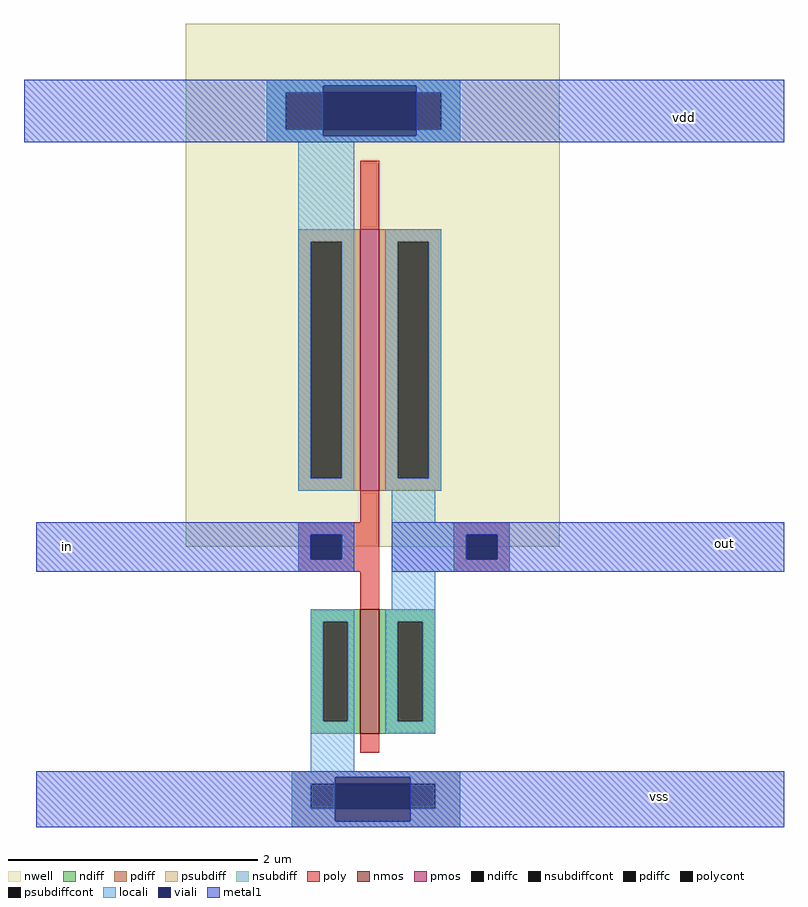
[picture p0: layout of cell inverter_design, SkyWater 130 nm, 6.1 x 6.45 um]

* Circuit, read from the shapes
.subckt inverter_design in out vdd vss
XM1 out in vss vss sky130_fd_pr__nfet_01v8 w=1 l=0.15
XM2 out in vdd vdd sky130_fd_pr__pfet_01v8 w=2.1 l=0.15
.ends

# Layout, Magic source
magic
tech sky130A
<< nwell >>
rect -150 -50 150 370
<< nmos >>
rect -10 -200 5 -100
<< pmos >>
rect -10 -5 5 205
<< ndiff >>
rect -50 -110 -10 -100
rect -50 -190 -40 -110
rect -20 -190 -10 -110
rect -50 -200 -10 -190
rect 5 -110 50 -100
rect 5 -190 20 -110
rect 40 -190 50 -110
rect 5 -200 50 -190
<< pdiff >>
rect -60 195 -10 205
rect -60 5 -50 195
rect -25 5 -10 195
rect -60 -5 -10 5
rect 5 195 55 205
rect 5 5 20 195
rect 45 5 55 195
rect 5 -5 55 5
<< ndiffc >>
rect -40 -190 -20 -110
rect 20 -190 40 -110
<< pdiffc >>
rect -50 5 -25 195
rect 20 5 45 195
<< psubdiff >>
rect -65 -240 70 -230
rect -65 -260 -50 -240
rect 50 -260 70 -240
rect -65 -275 70 -260
<< nsubdiff >>
rect -85 315 70 325
rect -85 285 -70 315
rect 55 285 70 315
rect -85 275 70 285
<< psubdiffcont >>
rect -50 -260 50 -240
<< nsubdiffcont >>
rect -70 285 55 315
<< poly >>
rect -10 205 5 260
rect -10 -30 5 -5
rect -60 -40 5 -30
rect -60 -60 -50 -40
rect -25 -60 5 -40
rect -60 -70 5 -60
rect 65 -40 110 -30
rect 65 -60 75 -40
rect 100 -60 110 -40
rect 65 -70 110 -60
rect -10 -100 5 -70
rect -10 -215 5 -200
<< polycont >>
rect -50 -60 -25 -40
rect 75 -60 100 -40
<< locali >>
rect -85 320 70 325
rect -85 315 -40 320
rect 35 315 70 320
rect -85 285 -70 315
rect 55 285 70 315
rect -85 280 -40 285
rect 35 280 70 285
rect -85 275 70 280
rect -60 195 -15 275
rect -60 5 -50 195
rect -25 5 -15 195
rect -60 -5 -15 5
rect 10 195 55 205
rect 10 5 20 195
rect 45 5 55 195
rect 10 -5 55 5
rect 15 -30 50 -5
rect -60 -40 -15 -30
rect -60 -60 -50 -40
rect -25 -60 -15 -40
rect -60 -70 -15 -60
rect 15 -40 110 -30
rect 15 -60 75 -40
rect 100 -60 110 -40
rect 15 -70 110 -60
rect 15 -100 50 -70
rect -50 -110 -15 -100
rect -50 -190 -40 -110
rect -20 -190 -15 -110
rect -50 -230 -15 -190
rect 10 -110 50 -100
rect 10 -190 20 -110
rect 40 -190 50 -110
rect 10 -200 50 -190
rect -65 -235 70 -230
rect -65 -240 -30 -235
rect 30 -240 70 -235
rect -65 -260 -50 -240
rect 50 -260 70 -240
rect -65 -270 -30 -260
rect 30 -270 70 -260
rect -65 -275 70 -270
<< viali >>
rect -40 315 35 320
rect -40 285 35 315
rect -40 280 35 285
rect -50 -60 -25 -40
rect 75 -60 100 -40
rect -30 -240 30 -235
rect -30 -260 30 -240
rect -30 -270 30 -260
<< metal1 >>
rect -280 320 330 325
rect -280 280 -40 320
rect 35 280 330 320
rect -280 275 330 280
rect -270 -40 -15 -30
rect -270 -60 -50 -40
rect -25 -60 -15 -40
rect -270 -70 -15 -60
rect 15 -40 330 -30
rect 15 -60 75 -40
rect 100 -60 330 -40
rect 15 -70 330 -60
rect -270 -235 330 -230
rect -270 -270 -30 -235
rect 30 -270 330 -235
rect -270 -275 330 -270
<< labels >>
rlabel metal1 250 295 250 295 1 vdd
rlabel metal1 230 -250 230 -250 1 vss
rlabel metal1 275 -55 290 -40 1 out
rlabel metal1 -255 -60 -235 -40 1 in
<< end >>
